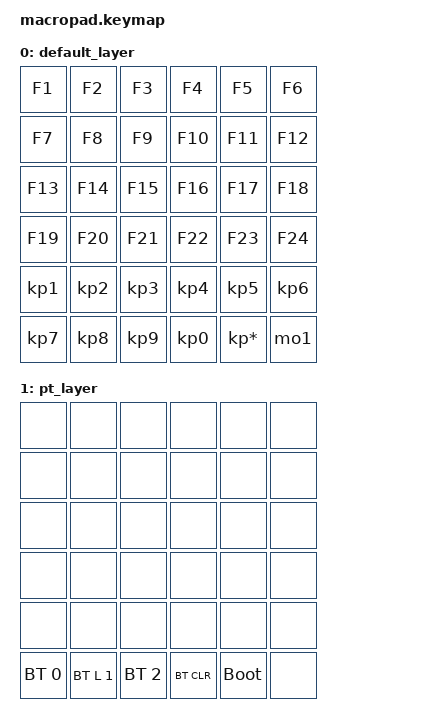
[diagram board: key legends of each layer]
#include <behaviors.dtsi>
#include <dt-bindings/zmk/keys.h>
#include <dt-bindings/zmk/bt.h>

/{  
    keymap {
        compatible = "zmk,keymap";
        
            default_layer {
                bindings = <
                    &kp F1   &kp F2   &kp F3   &kp F4   &kp F5   &kp F6
                    &kp F7   &kp F8   &kp F9   &kp F10  &kp F11  &kp F12
                    &kp F13  &kp F14  &kp F15  &kp F16  &kp F17  &kp F18
                    &kp F19  &kp F20  &kp F21  &kp F22  &kp F23  &kp F24
                    &kp KP_1 &kp KP_2 &kp KP_3 &kp KP_4 &kp KP_5 &kp KP_6
                    &kp KP_7 &kp KP_8 &kp KP_9 &kp KP_0 &kp KP_ASTERISK &mo1
                >;
            } 
     
        pt_layer {
            bindings = <
                &none           &none           &none           &none       &none           &none
                &none           &none           &none           &none       &none           &none
                &none           &none           &none           &none       &none           &none
                &none           &none           &none           &none       &none           &none
                &none           &none           &none           &none       &none           &none
                &bt BT_SEL 0    &bt BT_SELL 1   &bt BT_SEL 2    &bt BT_CLR  &bootloader     &none
            >;
        };    
    };
};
